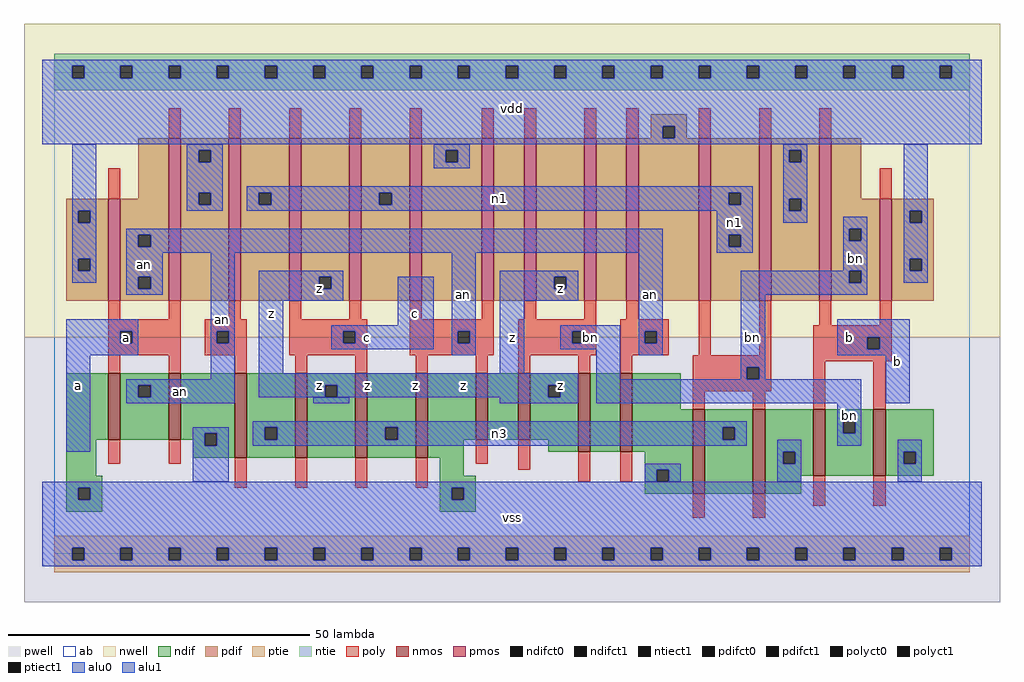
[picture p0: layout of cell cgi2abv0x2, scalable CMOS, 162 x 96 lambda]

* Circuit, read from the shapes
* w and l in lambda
.subckt cgi2abv0x2 a an b bn c n1 n3 vdd vss z
M1 an a vss vss nfet w=11 l=2 m=2
M2 n3 an vss vss nfet w=14 l=2 m=2
M3 z c n3 vss nfet w=14 l=2 m=2
M4 n2 an vss vss nfet w=11 l=2
M5 z bn n2 vss nfet w=11 l=2
M6 n4 bn z vss nfet w=13 l=2
M7 vss an n4 vss nfet w=13 l=2
M8 n3 bn vss vss nfet w=14 l=2 m=2
M9 bn b vss vss nfet w=11 l=2 m=2
M10 an a vdd vdd pfet w=17 l=2
M11 vdd a an vdd pfet w=27 l=2
M12 n1 an vdd vdd pfet w=27 l=2 m=2
M13 z c n1 vdd pfet w=27 l=2 m=2
M14 n5 an vdd vdd pfet w=27 l=2
M15 z bn n5 vdd pfet w=27 l=2
M16 n6 bn z vdd pfet w=27 l=2
M17 vdd an n6 vdd pfet w=27 l=2
M18 n1 bn vdd vdd pfet w=27 l=2 m=2
M19 bn b vdd vdd pfet w=27 l=2
M20 vdd b bn vdd pfet w=17 l=2
.ends

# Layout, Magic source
magic
tech scmos
<< ab >>
rect 0 0 152 80
<< nwell >>
rect -5 36 157 88
<< pwell >>
rect -5 -8 157 36
<< poly >>
rect 19 69 21 74
rect 29 69 31 74
rect 39 69 41 74
rect 49 69 51 74
rect 59 69 61 74
rect 71 69 73 74
rect 78 69 80 74
rect 88 69 90 74
rect 95 69 97 74
rect 107 69 109 74
rect 117 69 119 74
rect 127 69 129 74
rect 9 59 11 64
rect 137 59 139 64
rect 9 39 11 42
rect 19 39 21 42
rect 29 39 31 42
rect 39 39 41 42
rect 49 39 51 42
rect 59 39 61 42
rect 71 39 73 42
rect 78 39 80 42
rect 88 39 90 42
rect 95 39 97 42
rect 9 37 21 39
rect 9 35 11 37
rect 13 35 21 37
rect 9 33 21 35
rect 25 37 32 39
rect 25 35 27 37
rect 29 35 32 37
rect 25 33 32 35
rect 39 37 52 39
rect 39 35 48 37
rect 50 35 52 37
rect 39 33 52 35
rect 59 37 73 39
rect 59 35 67 37
rect 69 35 73 37
rect 59 33 73 35
rect 77 37 90 39
rect 77 35 86 37
rect 88 35 90 37
rect 77 33 90 35
rect 94 37 102 39
rect 94 35 98 37
rect 100 35 102 37
rect 94 33 102 35
rect 107 33 109 42
rect 117 33 119 42
rect 127 38 129 42
rect 137 38 139 42
rect 9 30 11 33
rect 19 30 21 33
rect 30 30 32 33
rect 40 30 42 33
rect 50 30 52 33
rect 60 30 62 33
rect 70 30 72 33
rect 77 30 79 33
rect 87 30 89 33
rect 94 30 96 33
rect 106 31 119 33
rect 9 15 11 19
rect 19 15 21 19
rect 30 11 32 16
rect 40 11 42 16
rect 50 11 52 16
rect 60 11 62 16
rect 70 15 72 19
rect 77 14 79 19
rect 106 29 115 31
rect 117 29 119 31
rect 106 27 119 29
rect 126 36 139 38
rect 126 34 135 36
rect 137 34 139 36
rect 126 32 139 34
rect 106 24 108 27
rect 116 24 118 27
rect 126 24 128 32
rect 136 24 138 32
rect 87 12 89 17
rect 94 12 96 17
rect 106 6 108 10
rect 116 6 118 10
rect 126 8 128 13
rect 136 8 138 13
<< ndif >>
rect 2 19 9 30
rect 11 28 19 30
rect 11 26 14 28
rect 16 26 19 28
rect 11 19 19 26
rect 21 20 30 30
rect 21 19 25 20
rect 2 13 7 19
rect 23 18 25 19
rect 27 18 30 20
rect 23 16 30 18
rect 32 21 40 30
rect 32 19 35 21
rect 37 19 40 21
rect 32 16 40 19
rect 42 28 50 30
rect 42 26 45 28
rect 47 26 50 28
rect 42 16 50 26
rect 52 21 60 30
rect 52 19 55 21
rect 57 19 60 21
rect 52 16 60 19
rect 62 19 70 30
rect 72 19 77 30
rect 79 28 87 30
rect 79 26 82 28
rect 84 26 87 28
rect 79 19 87 26
rect 62 16 68 19
rect 2 11 8 13
rect 64 13 68 16
rect 82 17 87 19
rect 89 17 94 30
rect 96 24 104 30
rect 96 17 106 24
rect 64 11 70 13
rect 98 14 106 17
rect 98 12 100 14
rect 102 12 106 14
rect 2 9 4 11
rect 6 9 8 11
rect 2 7 8 9
rect 64 9 66 11
rect 68 9 70 11
rect 98 10 106 12
rect 108 21 116 24
rect 108 19 111 21
rect 113 19 116 21
rect 108 10 116 19
rect 118 17 126 24
rect 118 15 121 17
rect 123 15 126 17
rect 118 13 126 15
rect 128 22 136 24
rect 128 20 131 22
rect 133 20 136 22
rect 128 13 136 20
rect 138 17 146 24
rect 138 15 141 17
rect 143 15 146 17
rect 138 13 146 15
rect 118 10 124 13
rect 64 7 70 9
<< pdif >>
rect 99 71 105 73
rect 99 69 101 71
rect 103 69 105 71
rect 14 59 19 69
rect 2 57 9 59
rect 2 55 4 57
rect 6 55 9 57
rect 2 49 9 55
rect 2 47 4 49
rect 6 47 9 49
rect 2 42 9 47
rect 11 53 19 59
rect 11 51 14 53
rect 16 51 19 53
rect 11 46 19 51
rect 11 44 14 46
rect 16 44 19 46
rect 11 42 19 44
rect 21 67 29 69
rect 21 65 24 67
rect 26 65 29 67
rect 21 60 29 65
rect 21 58 24 60
rect 26 58 29 60
rect 21 42 29 58
rect 31 60 39 69
rect 31 58 34 60
rect 36 58 39 60
rect 31 42 39 58
rect 41 46 49 69
rect 41 44 44 46
rect 46 44 49 46
rect 41 42 49 44
rect 51 60 59 69
rect 51 58 54 60
rect 56 58 59 60
rect 51 42 59 58
rect 61 67 71 69
rect 61 65 65 67
rect 67 65 71 67
rect 61 42 71 65
rect 73 42 78 69
rect 80 46 88 69
rect 80 44 83 46
rect 85 44 88 46
rect 80 42 88 44
rect 90 42 95 69
rect 97 42 107 69
rect 109 60 117 69
rect 109 58 112 60
rect 114 58 117 60
rect 109 53 117 58
rect 109 51 112 53
rect 114 51 117 53
rect 109 42 117 51
rect 119 67 127 69
rect 119 65 122 67
rect 124 65 127 67
rect 119 59 127 65
rect 119 57 122 59
rect 124 57 127 59
rect 119 42 127 57
rect 129 59 134 69
rect 129 54 137 59
rect 129 52 132 54
rect 134 52 137 54
rect 129 47 137 52
rect 129 45 132 47
rect 134 45 137 47
rect 129 42 137 45
rect 139 57 146 59
rect 139 55 142 57
rect 144 55 146 57
rect 139 49 146 55
rect 139 47 142 49
rect 144 47 146 49
rect 139 42 146 47
<< alu1 >>
rect -2 81 154 82
rect -2 79 3 81
rect 5 79 11 81
rect 13 79 19 81
rect 21 79 27 81
rect 29 79 35 81
rect 37 79 43 81
rect 45 79 51 81
rect 53 79 59 81
rect 61 79 67 81
rect 69 79 75 81
rect 77 79 83 81
rect 85 79 91 81
rect 93 79 99 81
rect 101 79 107 81
rect 109 79 115 81
rect 117 79 123 81
rect 125 79 131 81
rect 133 79 139 81
rect 141 79 147 81
rect 149 79 154 81
rect -2 71 154 79
rect -2 69 101 71
rect 103 69 154 71
rect -2 68 154 69
rect 2 37 14 39
rect 2 35 11 37
rect 13 35 14 37
rect 2 33 14 35
rect 2 17 6 33
rect 34 46 48 47
rect 34 44 44 46
rect 46 44 48 46
rect 34 42 48 44
rect 34 30 38 42
rect 57 38 63 46
rect 46 37 63 38
rect 46 35 48 37
rect 50 35 63 37
rect 46 34 63 35
rect 74 46 87 47
rect 74 44 83 46
rect 85 44 87 46
rect 74 42 87 44
rect 74 30 78 42
rect 34 28 87 30
rect 34 26 45 28
rect 47 26 82 28
rect 84 26 87 28
rect 74 25 87 26
rect 130 36 142 39
rect 130 34 135 36
rect 137 34 142 36
rect 130 33 142 34
rect 138 25 142 33
rect -2 11 154 12
rect -2 9 4 11
rect 6 9 66 11
rect 68 9 154 11
rect -2 1 154 9
rect -2 -1 3 1
rect 5 -1 11 1
rect 13 -1 19 1
rect 21 -1 27 1
rect 29 -1 35 1
rect 37 -1 43 1
rect 45 -1 51 1
rect 53 -1 59 1
rect 61 -1 67 1
rect 69 -1 75 1
rect 77 -1 83 1
rect 85 -1 91 1
rect 93 -1 99 1
rect 101 -1 107 1
rect 109 -1 115 1
rect 117 -1 123 1
rect 125 -1 131 1
rect 133 -1 139 1
rect 141 -1 147 1
rect 149 -1 154 1
rect -2 -2 154 -1
<< ptie >>
rect 0 1 152 3
rect 0 -1 3 1
rect 5 -1 11 1
rect 13 -1 19 1
rect 21 -1 27 1
rect 29 -1 35 1
rect 37 -1 43 1
rect 45 -1 51 1
rect 53 -1 59 1
rect 61 -1 67 1
rect 69 -1 75 1
rect 77 -1 83 1
rect 85 -1 91 1
rect 93 -1 99 1
rect 101 -1 107 1
rect 109 -1 115 1
rect 117 -1 123 1
rect 125 -1 131 1
rect 133 -1 139 1
rect 141 -1 147 1
rect 149 -1 152 1
rect 0 -3 152 -1
<< ntie >>
rect 0 81 152 83
rect 0 79 3 81
rect 5 79 11 81
rect 13 79 19 81
rect 21 79 27 81
rect 29 79 35 81
rect 37 79 43 81
rect 45 79 51 81
rect 53 79 59 81
rect 61 79 67 81
rect 69 79 75 81
rect 77 79 83 81
rect 85 79 91 81
rect 93 79 99 81
rect 101 79 107 81
rect 109 79 115 81
rect 117 79 123 81
rect 125 79 131 81
rect 133 79 139 81
rect 141 79 147 81
rect 149 79 152 81
rect 0 77 152 79
<< nmos >>
rect 9 19 11 30
rect 19 19 21 30
rect 30 16 32 30
rect 40 16 42 30
rect 50 16 52 30
rect 60 16 62 30
rect 70 19 72 30
rect 77 19 79 30
rect 87 17 89 30
rect 94 17 96 30
rect 106 10 108 24
rect 116 10 118 24
rect 126 13 128 24
rect 136 13 138 24
<< pmos >>
rect 9 42 11 59
rect 19 42 21 69
rect 29 42 31 69
rect 39 42 41 69
rect 49 42 51 69
rect 59 42 61 69
rect 71 42 73 69
rect 78 42 80 69
rect 88 42 90 69
rect 95 42 97 69
rect 107 42 109 69
rect 117 42 119 69
rect 127 42 129 69
rect 137 42 139 59
<< polyct0 >>
rect 27 35 29 37
rect 67 35 69 37
rect 86 35 88 37
rect 98 35 100 37
rect 115 29 117 31
<< polyct1 >>
rect 11 35 13 37
rect 48 35 50 37
rect 135 34 137 36
<< ndifct0 >>
rect 14 26 16 28
rect 25 18 27 20
rect 35 19 37 21
rect 55 19 57 21
rect 100 12 102 14
rect 111 19 113 21
rect 121 15 123 17
rect 131 20 133 22
rect 141 15 143 17
<< ndifct1 >>
rect 45 26 47 28
rect 82 26 84 28
rect 4 9 6 11
rect 66 9 68 11
<< ntiect1 >>
rect 3 79 5 81
rect 11 79 13 81
rect 19 79 21 81
rect 27 79 29 81
rect 35 79 37 81
rect 43 79 45 81
rect 51 79 53 81
rect 59 79 61 81
rect 67 79 69 81
rect 75 79 77 81
rect 83 79 85 81
rect 91 79 93 81
rect 99 79 101 81
rect 107 79 109 81
rect 115 79 117 81
rect 123 79 125 81
rect 131 79 133 81
rect 139 79 141 81
rect 147 79 149 81
<< ptiect1 >>
rect 3 -1 5 1
rect 11 -1 13 1
rect 19 -1 21 1
rect 27 -1 29 1
rect 35 -1 37 1
rect 43 -1 45 1
rect 51 -1 53 1
rect 59 -1 61 1
rect 67 -1 69 1
rect 75 -1 77 1
rect 83 -1 85 1
rect 91 -1 93 1
rect 99 -1 101 1
rect 107 -1 109 1
rect 115 -1 117 1
rect 123 -1 125 1
rect 131 -1 133 1
rect 139 -1 141 1
rect 147 -1 149 1
<< pdifct0 >>
rect 4 55 6 57
rect 4 47 6 49
rect 14 51 16 53
rect 14 44 16 46
rect 24 65 26 67
rect 24 58 26 60
rect 34 58 36 60
rect 54 58 56 60
rect 65 65 67 67
rect 112 58 114 60
rect 112 51 114 53
rect 122 65 124 67
rect 122 57 124 59
rect 132 52 134 54
rect 132 45 134 47
rect 142 55 144 57
rect 142 47 144 49
<< pdifct1 >>
rect 101 69 103 71
rect 44 44 46 46
rect 83 44 85 46
<< alu0 >>
rect 3 57 7 68
rect 22 67 28 68
rect 22 65 24 67
rect 26 65 28 67
rect 22 60 28 65
rect 63 67 69 68
rect 63 65 65 67
rect 67 65 69 67
rect 63 64 69 65
rect 121 67 125 68
rect 121 65 122 67
rect 124 65 125 67
rect 22 58 24 60
rect 26 58 28 60
rect 22 57 28 58
rect 32 60 116 61
rect 32 58 34 60
rect 36 58 54 60
rect 56 58 112 60
rect 114 58 116 60
rect 32 57 116 58
rect 3 55 4 57
rect 6 55 7 57
rect 3 49 7 55
rect 3 47 4 49
rect 6 47 7 49
rect 3 45 7 47
rect 12 53 101 54
rect 12 51 14 53
rect 16 51 101 53
rect 12 50 101 51
rect 110 53 116 57
rect 121 59 125 65
rect 121 57 122 59
rect 124 57 125 59
rect 121 55 125 57
rect 141 57 145 68
rect 110 51 112 53
rect 114 51 116 53
rect 110 50 116 51
rect 131 54 135 56
rect 131 52 132 54
rect 134 52 135 54
rect 12 46 18 50
rect 12 44 14 46
rect 16 44 18 46
rect 12 43 18 44
rect 26 37 30 50
rect 26 35 27 37
rect 29 35 30 37
rect 26 29 30 35
rect 12 28 30 29
rect 12 26 14 28
rect 16 26 30 28
rect 66 37 70 50
rect 66 35 67 37
rect 69 35 70 37
rect 66 33 70 35
rect 84 37 94 38
rect 84 35 86 37
rect 88 35 94 37
rect 84 34 94 35
rect 12 25 30 26
rect 43 25 49 26
rect 90 29 94 34
rect 97 37 101 50
rect 131 47 135 52
rect 97 35 98 37
rect 100 35 101 37
rect 97 33 101 35
rect 114 45 132 47
rect 134 45 135 47
rect 141 55 142 57
rect 144 55 145 57
rect 141 49 145 55
rect 141 47 142 49
rect 144 47 145 49
rect 141 45 145 47
rect 114 43 135 45
rect 114 31 118 43
rect 114 29 115 31
rect 117 29 118 31
rect 90 25 134 29
rect 130 22 134 25
rect 33 21 115 22
rect 23 20 29 21
rect 23 18 25 20
rect 27 18 29 20
rect 33 19 35 21
rect 37 19 55 21
rect 57 19 111 21
rect 113 19 115 21
rect 130 20 131 22
rect 133 20 134 22
rect 33 18 115 19
rect 23 12 29 18
rect 120 17 124 19
rect 130 18 134 20
rect 120 15 121 17
rect 123 15 124 17
rect 98 14 104 15
rect 98 12 100 14
rect 102 12 104 14
rect 120 12 124 15
rect 140 17 144 19
rect 140 15 141 17
rect 143 15 144 17
rect 140 12 144 15
<< labels >>
rlabel alu0 21 27 21 27 6 an
rlabel alu0 15 48 15 48 6 an
rlabel alu0 28 39 28 39 6 an
rlabel alu0 68 43 68 43 6 an
rlabel alu0 74 20 74 20 6 n3
rlabel alu0 116 36 116 36 6 bn
rlabel alu0 89 36 89 36 6 bn
rlabel alu0 113 55 113 55 6 n1
rlabel alu0 99 43 99 43 6 an
rlabel alu0 74 59 74 59 6 n1
rlabel alu0 132 23 132 23 6 bn
rlabel alu0 133 49 133 49 6 bn
rlabel polyct1 12 36 12 36 6 a
rlabel alu1 4 28 4 28 6 a
rlabel alu1 68 28 68 28 6 z
rlabel alu1 60 28 60 28 6 z
rlabel alu1 52 36 52 36 6 c
rlabel alu1 52 28 52 28 6 z
rlabel alu1 44 28 44 28 6 z
rlabel alu1 44 44 44 44 6 z
rlabel alu1 60 40 60 40 6 c
rlabel alu1 36 40 36 40 6 z
rlabel alu1 76 6 76 6 6 vss
rlabel alu1 76 36 76 36 6 z
rlabel alu1 84 28 84 28 6 z
rlabel alu1 84 44 84 44 6 z
rlabel alu1 76 74 76 74 6 vdd
rlabel alu1 132 36 132 36 6 b
rlabel alu1 140 32 140 32 6 b
<< end >>
